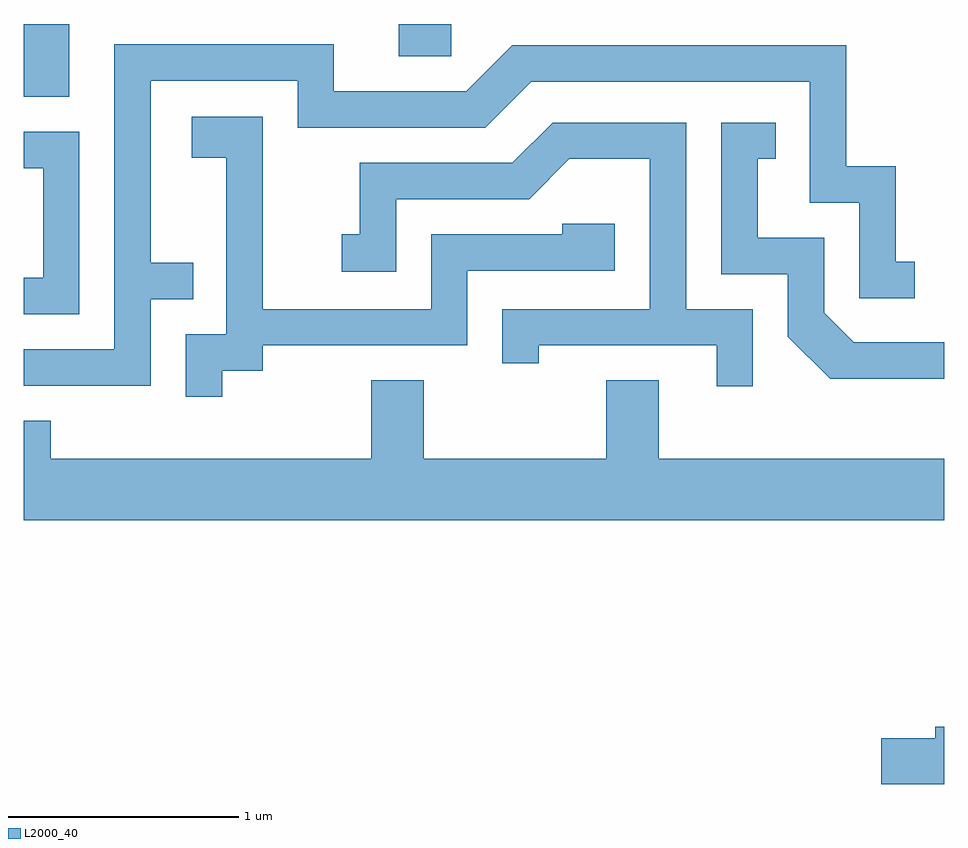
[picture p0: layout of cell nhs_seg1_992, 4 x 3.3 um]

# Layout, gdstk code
import gdstk
lib = gdstk.Library(unit=1e-6, precision=1e-09)
def R(c, l, rs):  # rectangles x0, y0, x1, y1
    for r in rs: c.add(gdstk.rectangle(r[:2], r[2:], *l))
def P(c, l, *ps):  # polygons
    for p in ps: c.add(gdstk.Polygon(p, *l))
L2000_40 = (2000, 40)

nhs_seg1_992 = lib.new_cell('nhs_seg1_992')
R(nhs_seg1_992, L2000_40, [(215.611,921.396,215.809,921.712), (217.241,921.571,217.469,921.712)])
P(nhs_seg1_992, L2000_40, [(216.164,920.516),(216.348,920.516),(216.348,920.674),(216.164,920.674),(216.164,921.466),(216.801,921.466),(216.801,921.261),(217.617,921.261),(217.817,921.461),(219.026,921.461),(219.026,920.936),(219.241,920.936),(219.241,920.521),(219.483,920.521),(219.483,920.679),(219.399,920.679),(219.399,921.094),(219.184,921.094),(219.184,921.619),(217.734,921.619),(217.534,921.419),(216.959,921.419),(216.959,921.624),(216.006,921.624),(216.006,920.299),(215.611,920.299),(215.611,920.141),(216.164,920.141)],
  [(216.474,920.206),(216.649,920.206),(216.649,920.316),(217.539,920.316),(217.539,920.641),(218.179,920.641),(218.179,920.844),(217.951,920.844),(217.951,920.799),(217.381,920.799),(217.381,920.474),(216.649,920.474),(216.649,921.309),(216.341,921.309),(216.341,921.131),(216.491,921.131),(216.491,920.364),(216.316,920.364),(216.316,920.093),(216.474,920.093)],
  [(218.779,920.474),(218.489,920.474),(218.489,921.284),(217.909,921.284),(217.734,921.109),(217.071,921.109),(217.071,920.799),(216.993,920.799),(216.993,920.636),(217.229,920.636),(217.229,920.951),(217.807,920.951),(217.982,921.126),(218.331,921.126),(218.331,920.474),(217.691,920.474),(217.691,920.238),(217.849,920.238),(217.849,920.316),(218.621,920.316),(218.621,920.138),(218.779,920.138)],
  [(219.611,920.329),(219.217,920.329),(219.089,920.457),(219.089,920.784),(218.799,920.784),(218.799,921.126),(218.878,921.126),(218.878,921.284),(218.641,921.284),(218.641,920.626),(218.931,920.626),(218.931,920.354),(219.114,920.171),(219.611,920.171)],
  [(215.854,921.244),(215.611,921.244),(215.611,921.086),(215.696,921.086),(215.696,920.609),(215.611,920.609),(215.611,920.451),(215.854,920.451)],
  [(218.141,920.164),(218.141,919.824),(217.349,919.824),(217.349,920.164),(217.121,920.164),(217.121,919.824),(215.729,919.824),(215.729,919.989),(215.611,919.989),(215.611,919.556),(219.611,919.556),(219.611,919.824),(218.369,919.824),(218.369,920.164)],
  [(219.611,918.659),(219.571,918.659),(219.571,918.609),(219.336,918.609),(219.336,918.411),(219.611,918.411)])

lib.write_gds('nhs_seg1_992.gds')
